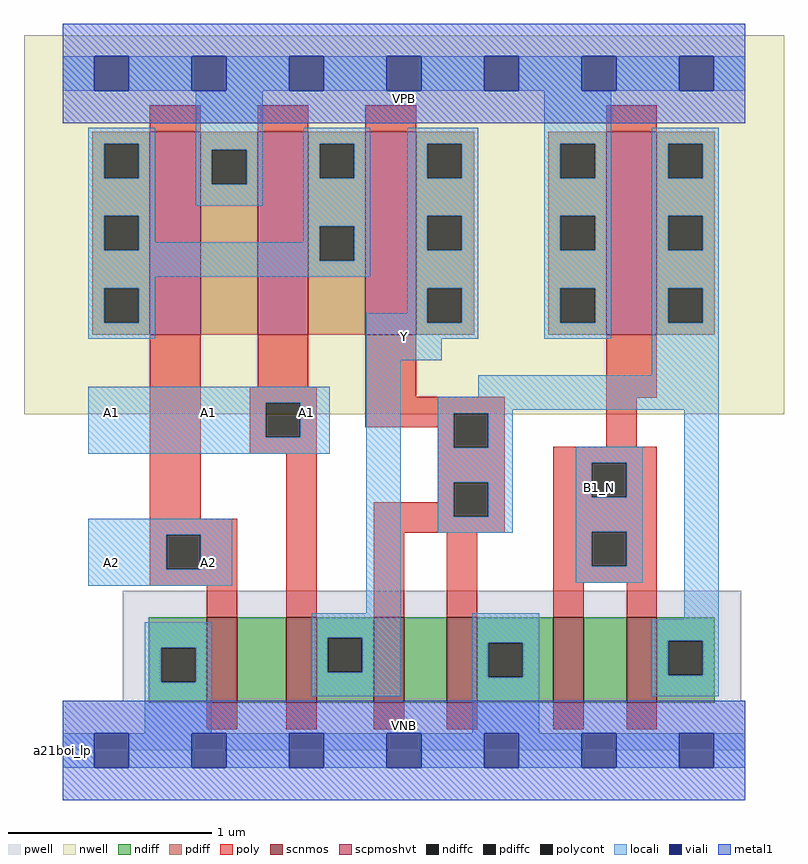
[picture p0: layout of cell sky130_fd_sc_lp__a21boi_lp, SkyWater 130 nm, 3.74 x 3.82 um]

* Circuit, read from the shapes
.subckt sky130_fd_sc_lp__a21boi_lp A1 A2 B1_N VGND VNB VPB VPWR Y
XM1 n1 A2 VGND VNB sky130_fd_pr__nfet_01v8 w=0.42 l=0.15
XM2 Y A1 n1 VNB sky130_fd_pr__nfet_01v8 w=0.42 l=0.15
XM3 n2 n3 Y VNB sky130_fd_pr__nfet_01v8 w=0.42 l=0.15
XM4 VGND n3 n2 VNB sky130_fd_pr__nfet_01v8 w=0.42 l=0.15
XM5 n4 B1_N VGND VNB sky130_fd_pr__nfet_01v8 w=0.42 l=0.15
XM6 n3 B1_N n4 VNB sky130_fd_pr__nfet_01v8 w=0.42 l=0.15
XM7 VPWR A2 n5 VPB sky130_fd_pr__pfet_01v8_hvt w=1 l=0.25
XM8 n5 A1 VPWR VPB sky130_fd_pr__pfet_01v8_hvt w=1 l=0.25
XM9 Y n3 n5 VPB sky130_fd_pr__pfet_01v8_hvt w=1 l=0.25
XM10 n3 B1_N VPWR VPB sky130_fd_pr__pfet_01v8_hvt w=1 l=0.25
.ends

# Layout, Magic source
magic
tech sky130A
magscale 1 2
<< nwell >>
rect -38 331 710 704
<< pwell >>
rect 59 49 668 157
rect 0 0 672 49
<< scnmos >>
rect 142 47 172 131
rect 220 47 250 131
rect 306 47 336 131
rect 378 47 408 131
rect 483 47 513 131
rect 555 47 585 131
<< scpmoshvt >>
rect 86 409 136 609
rect 192 409 242 609
rect 298 409 348 609
rect 535 409 585 609
<< ndiff >>
rect 85 101 142 131
rect 85 67 97 101
rect 131 67 142 101
rect 85 47 142 67
rect 172 47 220 131
rect 250 111 306 131
rect 250 77 261 111
rect 295 77 306 111
rect 250 47 306 77
rect 336 47 378 131
rect 408 106 483 131
rect 408 72 419 106
rect 453 72 483 106
rect 408 47 483 72
rect 513 47 555 131
rect 585 108 642 131
rect 585 74 596 108
rect 630 74 642 108
rect 585 47 642 74
<< pdiff >>
rect 29 597 86 609
rect 29 563 41 597
rect 75 563 86 597
rect 29 526 86 563
rect 29 492 41 526
rect 75 492 86 526
rect 29 455 86 492
rect 29 421 41 455
rect 75 421 86 455
rect 29 409 86 421
rect 136 591 192 609
rect 136 557 147 591
rect 181 557 192 591
rect 136 409 192 557
rect 242 597 298 609
rect 242 563 253 597
rect 287 563 298 597
rect 242 516 298 563
rect 242 482 253 516
rect 287 482 298 516
rect 242 409 298 482
rect 348 597 405 609
rect 348 563 359 597
rect 393 563 405 597
rect 348 526 405 563
rect 348 492 359 526
rect 393 492 405 526
rect 348 455 405 492
rect 348 421 359 455
rect 393 421 405 455
rect 348 409 405 421
rect 478 597 535 609
rect 478 563 490 597
rect 524 563 535 597
rect 478 526 535 563
rect 478 492 490 526
rect 524 492 535 526
rect 478 455 535 492
rect 478 421 490 455
rect 524 421 535 455
rect 478 409 535 421
rect 585 597 642 609
rect 585 563 596 597
rect 630 563 642 597
rect 585 526 642 563
rect 585 492 596 526
rect 630 492 642 526
rect 585 455 642 492
rect 585 421 596 455
rect 630 421 642 455
rect 585 409 642 421
<< ndiffc >>
rect 97 67 131 101
rect 261 77 295 111
rect 419 72 453 106
rect 596 74 630 108
<< pdiffc >>
rect 41 563 75 597
rect 41 492 75 526
rect 41 421 75 455
rect 147 557 181 591
rect 253 563 287 597
rect 253 482 287 516
rect 359 563 393 597
rect 359 492 393 526
rect 359 421 393 455
rect 490 563 524 597
rect 490 492 524 526
rect 490 421 524 455
rect 596 563 630 597
rect 596 492 630 526
rect 596 421 630 455
<< poly >>
rect 86 609 136 635
rect 192 609 242 635
rect 298 609 348 635
rect 535 609 585 635
rect 86 228 136 409
rect 192 358 242 409
rect 184 342 250 358
rect 184 308 200 342
rect 234 308 250 342
rect 298 348 348 409
rect 298 332 435 348
rect 298 318 385 332
rect 184 292 250 308
rect 86 212 172 228
rect 86 178 102 212
rect 136 178 172 212
rect 86 162 172 178
rect 142 131 172 162
rect 220 131 250 292
rect 369 298 385 318
rect 419 298 435 332
rect 535 347 585 409
rect 535 299 565 347
rect 369 264 435 298
rect 369 244 385 264
rect 306 230 385 244
rect 419 230 435 264
rect 306 214 435 230
rect 483 283 585 299
rect 483 249 521 283
rect 555 249 585 283
rect 483 215 585 249
rect 306 131 336 214
rect 378 131 408 214
rect 483 181 521 215
rect 555 181 585 215
rect 483 165 585 181
rect 483 131 513 165
rect 555 131 585 165
rect 142 21 172 47
rect 220 21 250 47
rect 306 21 336 47
rect 378 21 408 47
rect 483 21 513 47
rect 555 21 585 47
<< polycont >>
rect 200 308 234 342
rect 102 178 136 212
rect 385 298 419 332
rect 385 230 419 264
rect 521 249 555 283
rect 521 181 555 215
<< locali >>
rect 0 649 31 683
rect 65 649 127 683
rect 161 649 223 683
rect 257 649 319 683
rect 353 649 415 683
rect 449 649 511 683
rect 545 649 607 683
rect 641 649 672 683
rect 25 597 91 613
rect 25 563 41 597
rect 75 563 91 597
rect 25 526 91 563
rect 131 591 197 649
rect 131 557 147 591
rect 181 557 197 591
rect 131 536 197 557
rect 237 597 303 613
rect 237 563 253 597
rect 287 563 303 597
rect 25 492 41 526
rect 75 500 91 526
rect 237 516 303 563
rect 237 500 253 516
rect 75 492 253 500
rect 25 482 253 492
rect 287 482 303 516
rect 25 466 303 482
rect 339 597 409 613
rect 339 563 359 597
rect 393 563 409 597
rect 339 526 409 563
rect 339 492 359 526
rect 393 492 409 526
rect 25 455 91 466
rect 25 421 41 455
rect 75 421 91 455
rect 339 455 409 492
rect 339 430 359 455
rect 25 405 91 421
rect 299 421 359 430
rect 393 421 409 455
rect 299 405 409 421
rect 474 597 540 649
rect 474 563 490 597
rect 524 563 540 597
rect 474 526 540 563
rect 474 492 490 526
rect 524 492 540 526
rect 474 455 540 492
rect 474 421 490 455
rect 524 421 540 455
rect 474 405 540 421
rect 580 597 646 613
rect 580 563 596 597
rect 630 563 646 597
rect 580 526 646 563
rect 580 492 596 526
rect 630 492 646 526
rect 580 455 646 492
rect 580 421 596 455
rect 630 421 646 455
rect 299 384 373 405
rect 25 342 263 358
rect 25 308 200 342
rect 234 308 263 342
rect 25 292 263 308
rect 25 212 167 228
rect 25 178 102 212
rect 136 178 167 212
rect 25 162 167 178
rect 299 135 333 384
rect 580 369 646 421
rect 409 348 646 369
rect 369 335 646 348
rect 369 332 443 335
rect 369 298 385 332
rect 419 298 443 332
rect 369 264 443 298
rect 369 230 385 264
rect 419 230 443 264
rect 369 214 443 230
rect 505 283 571 299
rect 505 249 521 283
rect 555 249 571 283
rect 505 215 571 249
rect 505 181 521 215
rect 555 181 571 215
rect 505 165 571 181
rect 81 101 147 126
rect 81 67 97 101
rect 131 67 147 101
rect 81 17 147 67
rect 245 111 333 135
rect 245 77 261 111
rect 295 77 333 111
rect 245 53 333 77
rect 403 106 469 135
rect 612 129 646 335
rect 403 72 419 106
rect 453 72 469 106
rect 403 17 469 72
rect 580 108 646 129
rect 580 74 596 108
rect 630 74 646 108
rect 580 53 646 74
rect 0 -17 31 17
rect 65 -17 127 17
rect 161 -17 223 17
rect 257 -17 319 17
rect 353 -17 415 17
rect 449 -17 511 17
rect 545 -17 607 17
rect 641 -17 672 17
<< viali >>
rect 31 649 65 683
rect 127 649 161 683
rect 223 649 257 683
rect 319 649 353 683
rect 415 649 449 683
rect 511 649 545 683
rect 607 649 641 683
rect 31 -17 65 17
rect 127 -17 161 17
rect 223 -17 257 17
rect 319 -17 353 17
rect 415 -17 449 17
rect 511 -17 545 17
rect 607 -17 641 17
<< metal1 >>
rect 0 683 672 715
rect 0 649 31 683
rect 65 649 127 683
rect 161 649 223 683
rect 257 649 319 683
rect 353 649 415 683
rect 449 649 511 683
rect 545 649 607 683
rect 641 649 672 683
rect 0 617 672 649
rect 0 17 672 49
rect 0 -17 31 17
rect 65 -17 127 17
rect 161 -17 223 17
rect 257 -17 319 17
rect 353 -17 415 17
rect 449 -17 511 17
rect 545 -17 607 17
rect 641 -17 672 17
rect 0 -49 672 -17
<< labels >>
flabel pwell s 0 0 672 49 0 FreeSans 200 0 0 0 VNB
port 5 nsew ground bidirectional
flabel nwell s 0 617 672 666 0 FreeSans 200 0 0 0 VPB
port 6 nsew power bidirectional
rlabel comment s 0 0 0 0 4 a21boi_lp
flabel metal1 s 0 617 672 666 0 FreeSans 340 0 0 0 VPWR
port 7 nsew power bidirectional
flabel metal1 s 0 0 672 49 0 FreeSans 340 0 0 0 VGND
port 4 nsew ground bidirectional
flabel locali s 511 242 545 276 0 FreeSans 340 0 0 0 B1_N
port 3 nsew signal input
flabel locali s 319 390 353 424 0 FreeSans 340 0 0 0 Y
port 8 nsew signal output
flabel locali s 31 168 65 202 0 FreeSans 340 0 0 0 A2
port 2 nsew signal input
flabel locali s 127 168 161 202 0 FreeSans 340 0 0 0 A2
port 2 nsew signal input
flabel locali s 31 316 65 350 0 FreeSans 340 0 0 0 A1
port 1 nsew signal input
flabel locali s 127 316 161 350 0 FreeSans 340 0 0 0 A1
port 1 nsew signal input
flabel locali s 223 316 257 350 0 FreeSans 340 0 0 0 A1
port 1 nsew signal input
<< properties >>
string LEFsite unit
string LEFclass CORE
string FIXED_BBOX 0 0 672 666
string GDS_FILE $PDKPATH/libs.ref/sky130_fd_sc_lp/gds/sky130_fd_sc_lp.gds
string LEFsymmetry X Y R90
string GDS_END 5534528
string GDS_START 5528204
<< end >>
